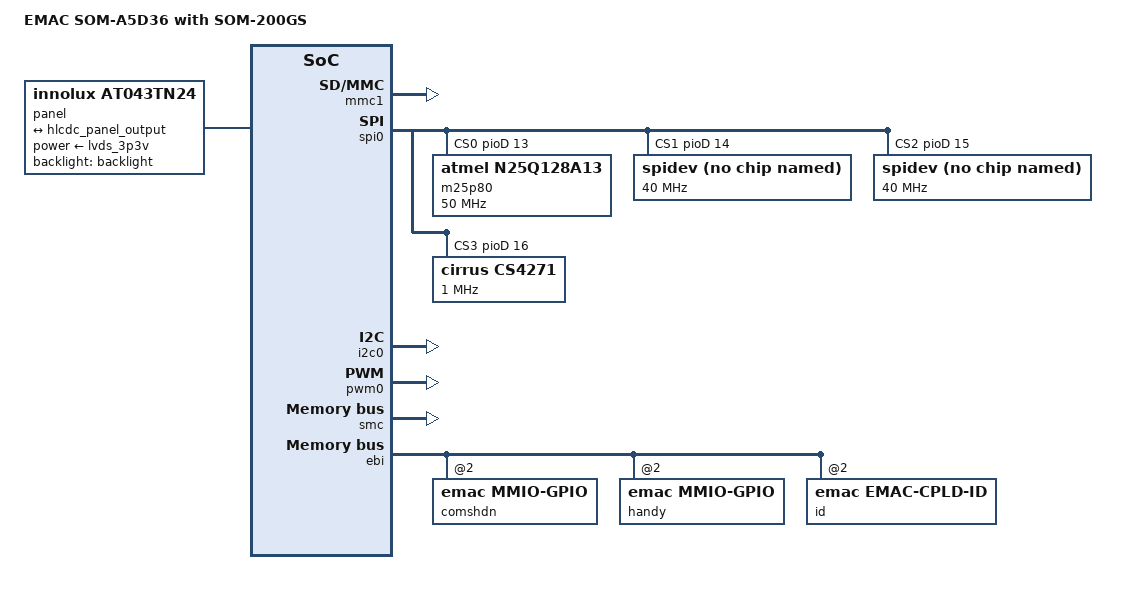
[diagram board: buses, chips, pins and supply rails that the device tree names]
/*
 * som-a5d36-200gs.dts - Device Tree file for the SoM-A5D36 / SoM-200GS.
 *
 *  Copyright (C) 2015 EMAC Inc.
 *
 * Licensed under GPLv2 or later.
 */
/dts-v1/;
#include "som-a5d36.dtsi"

/ {
	model = "EMAC SOM-A5D36 with SOM-200GS";

	ahb {
		apb {
			pinctrl@fffff200 {
				mmc1 {
					pinctrl_mmc1_cd_wp: mmc1_cd_wp {
						atmel,pins =
							<AT91_PIOC 5 AT91_PERIPH_GPIO AT91_PINCTRL_PULL_UP_DEGLITCH
							 AT91_PIOC 13 AT91_PERIPH_GPIO AT91_PINCTRL_PULL_UP_DEGLITCH
							 AT91_PIOC 14 AT91_PERIPH_GPIO AT91_PINCTRL_PULL_UP_DEGLITCH>;
					};
				};

				led {
					pinctrl_led: led-board {
						atmel,pins =
							<AT91_PIOE 22 AT91_PERIPH_GPIO AT91_PINCTRL_NONE>;
					};
				};

				smc {
					pinctrl_smc: smc05-board {
						atmel,pins =
							<AT91_PIOE 27 AT91_PERIPH_A AT91_PINCTRL_NONE
							 AT91_PIOE 28 AT91_PERIPH_A AT91_PINCTRL_NONE>;
 					};
				};

			};

			mmc1: mmc@f8000000 {
				pinctrl-names = "default";
				pinctrl-0 = <&pinctrl_mmc1_clk_cmd_dat0 &pinctrl_mmc1_dat1_3 &pinctrl_mmc1_cd_wp>;
				status = "okay";
				slot@0 {
					reg = <0>;
					bus-width = <4>;
				};
			};

			spi0: spi@f0004000 {
				cs-gpios = <&pioD 13 0>, <&pioD 14 0>, <&pioD 15 0>, <&pioD 16 0>;
				status = "okay";
				m25p80@0 {
					compatible = "atmel,n25q128a13";
					spi-max-frequency = <50000000>;
					reg = <0>;
				};
				spidev@1 {
					compatible = "emac,spidev";
					spi-max-frequency = <40000000>;
					reg = <1>;
					status = "okay";
				};
				spidev@2 {
					compatible = "emac,spidev";
					spi-max-frequency = <40000000>;
					reg = <2>;
					status = "okay";
				};
				cs4271: cs4271@3 {
					#sound-dai-cells = <0>;
					compatible = "cirrus,cs4271";
					spi-cpol;
					spi-cpha;
					reg = <3>;
					clocks = <&audio_mclk>;
					spi-max-frequency = <1000000>;
					status = "okay";
				};
			};

			i2c0: i2c@f0014000 {
				status = "okay";
			};

			pwm0: pwm@f002c000 {
				pinctrl-names = "default";
				pinctrl-0 = <&pinctrl_pwm0_pwml1_2>, <&pinctrl_pwm0_pwmh3_1>;
				status = "okay";
			};
		};

		matrix: matrix@ffffec00 {
			compatible = "atmel,sama5d3-matrix", "syscon";
			reg = <0xffffec00 0x200>;
		};

		smc: smc@ffffc000 {
			compatible = "atmel,sama5d3-smc", "syscon";
			reg = <0xffffc000 0x1000>;
		};

		ebi: ebi@10000000 {
			compatible = "atmel,sama5d3-ebi";
			#address-cells = <2>;
			#size-cells = <1>;
			atmel,smc = <&smc>;
			atmel,matrix = <&matrix>;
			reg = <0x10000000 0x10000000
				0x40000000 0x30000000>;
			ranges = <0x0 0x0 0x10000000 0x10000000
				  0x1 0x0 0x40000000 0x10000000
				  0x2 0x0 0x50000000 0x10000000
				  0x3 0x0 0x60000000 0x10000000>;
			clocks = <&hsmc_clk>;

			pinctrl-names = "default";
			pinctrl-0 = <&pinctrl_smc &pinctrl_pck0>;

			portc@2,4 {
				compatible = "emac,mmio-gpio";
				reg-names = "dat";
				reg = <2 4 1>;
				gpio-controller;
				no-input;
				#address-cells = <1>;
				#size-cells = <1>;
				#gpio-cells = <1>;
				bank-width = <1>;

				atmel,smc-read-mode = "nrd";
				atmel,smc-write-mode = "nwe";
				atmel,smc-bus-width = <8>;
				atmel,smc-ncs-rd-setup-ns = <8>;
				atmel,smc-ncs-wr-setup-ns = <8>;
				atmel,smc-nwe-setup-ns = <16>;
				atmel,smc-nrd-setup-ns = <16>;
				atmel,smc-ncs-rd-pulse-ns = <40>;
				atmel,smc-ncs-wr-pulse-ns = <40>;
				atmel,smc-nrd-pulse-ns = <24>;
				atmel,smc-nwe-pulse-ns = <24>;
				atmel,smc-nrd-cycle-ns = <64>;
				atmel,smc-nwe-cycle-ns = <64>;
				atmel,smc-tdf-ns = <16>;
			};

			portb@2,2 {
				compatible = "emac,mmio-gpio";
				reg-names = "dat", "dirout";
				reg = <2 2 1>, <2 3 1>;
				gpio-controller;
				#address-cells = <1>;
				#size-cells = <1>;
				#gpio-cells = <1>;
				bank-width = <1>;
			};

			porta@2,0 {
				compatible = "emac,mmio-gpio";
				reg-names = "dat", "dirout";
				reg = <2 0 1>, <2 1 1>;
				gpio-controller;
				#address-cells = <1>;
				#size-cells = <1>;
				#gpio-cells = <1>;
				bank-width = <1>;
			};

			comshdn@2,6 {
				compatible = "emac,mmio-gpio";
				reg-names = "dat";
				reg = <2 6 1>;
				gpio-controller;
				no-input;
				#address-cells = <1>;
				#size-cells = <1>;
				#gpio-cells = <1>;
				bank-width = <1>;
			};

			handy@2,8 {
				compatible = "emac,mmio-gpio";
				reg-names = "dat", "dirout";
				reg = <2 8 1>, <2 9 1>;
				gpio-controller;
				#address-cells = <1>;
				#size-cells = <1>;
				#gpio-cells = <1>;
				bank-width = <1>;
			};

			id@2,7 {
				compatible = "emac,emac-cpld-id";
				reg = <2 7 1>;
				#address-cells = <1>;
				#size-cells = <1>;
			};
		};
	};

	sound {
		compatible = "simple-audio-card";
		simple-audio-card,format = "i2s";
		simple-audio-card,name = "cs4271 @ SOMA5D36";
		simple-audio-card,bitclock-master = <&codec_master>;
		simple-audio-card,frame-master = <&codec_master>;
		simple-audio-card,widgets =
			"Line", "Line In",
			"Line", "Line Out";
		simple-audio-card,routing =
			"Line In", "Capture",
			"Line Out", "Playback";

		cpu_master: simple-audio-card,cpu {
			sound-dai = <&ssc0>;
		};

		codec_master: simple-audio-card,codec {
			sound-dai = <&cs4271>;
		};
	};

	panel: panel {
		compatible = "innolux,at043tn24", "simple-panel";
		backlight = <&backlight>;
		power-supply = <&lvds_3p3v>;
		#address-cells = <1>;
		#size-cells = <0>;
		status = "okay";

		port@0 {
			#address-cells = <1>;
			#size-cells = <0>;

			panel_input: endpoint@0 {
				reg = <0>;
				remote-endpoint = <&hlcdc_panel_output>;
			};
		};
	};
};
